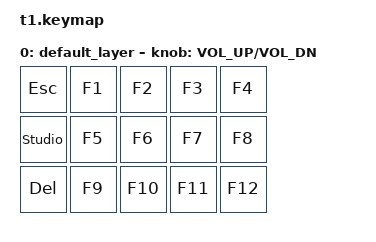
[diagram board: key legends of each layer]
#include <behaviors.dtsi>
#include <dt-bindings/zmk/keys.h>

/ {
    keymap {
        compatible = "zmk,keymap";

        default_layer {
            bindings = <
                &kp ESC  &kp F1  &kp F2  &kp F3  &kp F4
                &studio_unlock  &kp F5  &kp F6  &kp F7  &kp F8
                &kp DEL  &kp F9  &kp F10  &kp F11  &kp F12
            >;


            // Dial behavior on Layer 0: Turn clockwise for Vol Up, counter-clockwise for Vol Down
            sensor-bindings = <&inc_dec_kp C_VOL_UP C_VOL_DN>;
 

        };
    };
};
